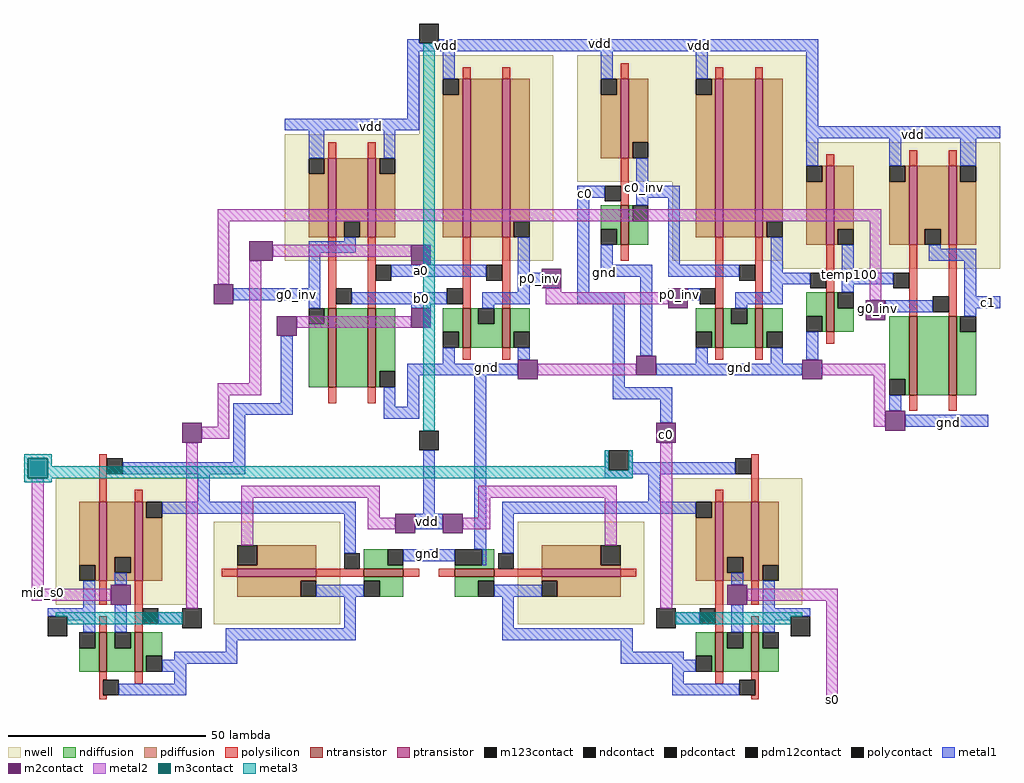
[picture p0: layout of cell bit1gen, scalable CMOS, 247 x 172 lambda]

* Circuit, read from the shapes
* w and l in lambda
.subckt bit1gen a0 b0 c0 c0_inv c1 g0_inv gnd mid_s0 p0_inv s0 temp100 vdd
M1 mid_s0 n1 a0 VSUBS nfet w=10 l=2
M2 n1 a0 mid_s0 VSUBS nfet w=10 l=2
M3 n2 b0 g0_inv VSUBS nfet w=20 l=2
M4 gnd b0 n1 VSUBS nfet w=10 l=2
M5 gnd a0 n2 VSUBS nfet w=20 l=2
M6 gnd mid_s0 n3 VSUBS nfet w=10 l=2
M7 p0_inv b0 gnd VSUBS nfet w=10 l=2
M8 gnd a0 p0_inv VSUBS nfet w=10 l=2
M9 c0_inv c0 gnd VSUBS nfet w=10 l=2
M10 s0 c0 n3 VSUBS nfet w=10 l=2
M11 n4 p0_inv gnd VSUBS nfet w=10 l=2
M12 c0 n3 s0 VSUBS nfet w=10 l=2
M13 gnd c0_inv n4 VSUBS nfet w=10 l=2
M14 temp100 n4 gnd VSUBS nfet w=10 l=2
M15 n5 temp100 gnd VSUBS nfet w=20 l=2
M16 c1 g0_inv n5 VSUBS nfet w=20 l=2
M17 mid_s0 b0 a0 n6 pfet w=20 l=2
M18 b0 a0 mid_s0 n6 pfet w=20 l=2
M19 vdd b0 n1 n7 pfet w=20 l=2
M20 g0_inv b0 vdd n8 pfet w=20 l=2
M21 vdd a0 g0_inv n8 pfet w=20 l=2
M22 n9 b0 vdd n8 pfet w=40 l=2
M23 p0_inv a0 n9 n8 pfet w=40 l=2
M24 vdd mid_s0 n3 n10 pfet w=20 l=2
M25 c0_inv c0 vdd n11 pfet w=20 l=2
M26 s0 c0 mid_s0 n12 pfet w=20 l=2
M27 n13 p0_inv vdd n11 pfet w=40 l=2
M28 c0 mid_s0 s0 n12 pfet w=20 l=2
M29 n4 c0_inv n13 n11 pfet w=40 l=2
M30 temp100 n4 vdd n11 pfet w=20 l=2
M31 c1 temp100 vdd n11 pfet w=20 l=2
M32 vdd g0_inv c1 n11 pfet w=20 l=2
.ends

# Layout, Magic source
magic
tech scmos
<< nwell >>
rect -3 -138 31 -118
rect -37 -170 31 -138
rect 37 -140 95 -118
rect 37 -150 144 -140
rect 61 -170 144 -150
rect 89 -172 144 -170
rect -95 -257 -62 -225
rect -55 -262 -23 -236
rect 22 -262 54 -236
rect 61 -257 94 -225
<< ntransistor >>
rect 48 -166 50 -156
rect -26 -202 -24 -182
rect -16 -202 -14 -182
rect 8 -192 10 -182
rect 18 -192 20 -182
rect 72 -192 74 -182
rect 82 -192 84 -182
rect 100 -188 102 -178
rect 121 -204 123 -184
rect 131 -204 133 -184
rect -17 -250 -7 -248
rect 6 -250 16 -248
rect -84 -274 -82 -264
rect -75 -274 -73 -264
rect 72 -274 74 -264
rect 81 -274 83 -264
<< ptransistor >>
rect -26 -164 -24 -144
rect -16 -164 -14 -144
rect 8 -164 10 -124
rect 18 -164 20 -124
rect 48 -144 50 -124
rect 72 -164 74 -124
rect 82 -164 84 -124
rect 100 -166 102 -146
rect 121 -166 123 -146
rect 131 -166 133 -146
rect -84 -251 -82 -231
rect -75 -251 -73 -231
rect -49 -250 -29 -248
rect 28 -250 48 -248
rect 72 -251 74 -231
rect 81 -251 83 -231
<< ndiffusion >>
rect 43 -162 48 -156
rect 47 -166 48 -162
rect 50 -160 51 -156
rect 50 -166 55 -160
rect -27 -186 -26 -182
rect -31 -202 -26 -186
rect -24 -202 -16 -182
rect -14 -198 -9 -182
rect 3 -188 8 -182
rect 7 -192 8 -188
rect 10 -186 12 -182
rect 16 -186 18 -182
rect 10 -192 18 -186
rect 20 -188 25 -182
rect 20 -192 21 -188
rect 67 -188 72 -182
rect 71 -192 72 -188
rect 74 -186 76 -182
rect 80 -186 82 -182
rect 74 -192 82 -186
rect 84 -188 89 -182
rect 95 -184 100 -178
rect 99 -188 100 -184
rect 102 -182 103 -178
rect 102 -188 107 -182
rect 84 -192 85 -188
rect -14 -202 -13 -198
rect 116 -200 121 -184
rect 120 -204 121 -200
rect 123 -204 131 -184
rect 133 -188 134 -184
rect 133 -204 138 -188
rect -17 -247 -11 -243
rect -17 -248 -7 -247
rect 13 -247 16 -243
rect 6 -248 16 -247
rect -17 -251 -7 -250
rect -13 -255 -7 -251
rect 6 -251 16 -250
rect 6 -255 12 -251
rect -85 -268 -84 -264
rect -89 -274 -84 -268
rect -82 -268 -80 -264
rect -76 -268 -75 -264
rect -82 -274 -75 -268
rect -73 -270 -68 -264
rect -73 -274 -72 -270
rect 67 -270 72 -264
rect 71 -274 72 -270
rect 74 -268 75 -264
rect 79 -268 81 -264
rect 74 -274 81 -268
rect 83 -268 84 -264
rect 83 -274 88 -268
<< pdiffusion >>
rect 7 -128 8 -124
rect -27 -148 -26 -144
rect -31 -164 -26 -148
rect -24 -160 -16 -144
rect -24 -164 -22 -160
rect -18 -164 -16 -160
rect -14 -148 -13 -144
rect -14 -164 -9 -148
rect 3 -164 8 -128
rect 10 -164 18 -124
rect 20 -160 25 -124
rect 47 -128 48 -124
rect 43 -144 48 -128
rect 50 -140 55 -124
rect 50 -144 51 -140
rect 71 -128 72 -124
rect 20 -164 21 -160
rect 67 -164 72 -128
rect 74 -164 82 -124
rect 84 -160 89 -124
rect 84 -164 85 -160
rect 99 -150 100 -146
rect 95 -166 100 -150
rect 102 -162 107 -146
rect 102 -166 103 -162
rect 120 -150 121 -146
rect 116 -166 121 -150
rect 123 -162 131 -146
rect 123 -166 125 -162
rect 129 -166 131 -162
rect 133 -150 134 -146
rect 133 -166 138 -150
rect -89 -247 -84 -231
rect -85 -251 -84 -247
rect -82 -245 -75 -231
rect -82 -249 -80 -245
rect -76 -249 -75 -245
rect -82 -251 -75 -249
rect -73 -235 -72 -231
rect -73 -251 -68 -235
rect 71 -235 72 -231
rect -44 -247 -29 -242
rect -49 -248 -29 -247
rect 28 -247 43 -242
rect 28 -248 48 -247
rect -49 -251 -29 -250
rect -49 -255 -33 -251
rect 28 -251 48 -250
rect 67 -251 72 -235
rect 74 -245 81 -231
rect 74 -249 75 -245
rect 79 -249 81 -245
rect 74 -251 81 -249
rect 83 -247 88 -231
rect 83 -251 84 -247
rect 32 -255 48 -251
<< ndcontact >>
rect 43 -166 47 -162
rect 51 -160 55 -156
rect -31 -186 -27 -182
rect 3 -192 7 -188
rect 12 -186 16 -182
rect 21 -192 25 -188
rect 67 -192 71 -188
rect 76 -186 80 -182
rect 95 -188 99 -184
rect 103 -182 107 -178
rect 85 -192 89 -188
rect -13 -202 -9 -198
rect 116 -204 120 -200
rect 134 -188 138 -184
rect -11 -247 -7 -243
rect 6 -247 13 -243
rect -17 -255 -13 -251
rect 12 -255 16 -251
rect -89 -268 -85 -264
rect -80 -268 -76 -264
rect -72 -274 -68 -270
rect 67 -274 71 -270
rect 75 -268 79 -264
rect 84 -268 88 -264
<< pdcontact >>
rect 3 -128 7 -124
rect -31 -148 -27 -144
rect -22 -164 -18 -160
rect -13 -148 -9 -144
rect 43 -128 47 -124
rect 51 -144 55 -140
rect 67 -128 71 -124
rect 21 -164 25 -160
rect 85 -164 89 -160
rect 95 -150 99 -146
rect 103 -166 107 -162
rect 116 -150 120 -146
rect 125 -166 129 -162
rect 134 -150 138 -146
rect -89 -251 -85 -247
rect -80 -249 -76 -245
rect -72 -235 -68 -231
rect 67 -235 71 -231
rect -33 -255 -29 -251
rect 75 -249 79 -245
rect 84 -251 88 -247
rect 28 -255 32 -251
<< polysilicon >>
rect 8 -124 10 -121
rect 18 -124 20 -121
rect 48 -124 50 -120
rect 72 -124 74 -121
rect 82 -124 84 -121
rect -26 -144 -24 -140
rect -16 -144 -14 -140
rect 48 -156 50 -144
rect -26 -182 -24 -164
rect -16 -182 -14 -164
rect 8 -182 10 -164
rect 18 -182 20 -164
rect 100 -146 102 -143
rect 121 -146 123 -142
rect 131 -146 133 -142
rect 48 -170 50 -166
rect 72 -182 74 -164
rect 82 -182 84 -164
rect 100 -178 102 -166
rect 121 -184 123 -166
rect 131 -184 133 -166
rect 100 -191 102 -188
rect 8 -195 10 -192
rect 18 -195 20 -192
rect 72 -195 74 -192
rect 82 -195 84 -192
rect -26 -206 -24 -202
rect -16 -206 -14 -202
rect 121 -208 123 -204
rect 131 -208 133 -204
rect -84 -231 -82 -219
rect -75 -231 -73 -228
rect 72 -231 74 -228
rect 81 -231 83 -219
rect -53 -250 -49 -248
rect -29 -250 -17 -248
rect -7 -250 -3 -248
rect 2 -250 6 -248
rect 16 -250 28 -248
rect 48 -250 52 -248
rect -84 -257 -82 -251
rect -84 -264 -82 -260
rect -75 -264 -73 -251
rect 72 -264 74 -251
rect 81 -257 83 -251
rect 81 -264 83 -260
rect -84 -276 -82 -274
rect -84 -280 -83 -276
rect -75 -277 -73 -274
rect 72 -277 74 -274
rect 81 -276 83 -274
rect 82 -280 83 -276
rect -84 -281 -82 -280
rect 81 -281 83 -280
<< polycontact >>
rect 44 -155 48 -151
rect -24 -181 -20 -177
rect -14 -175 -10 -171
rect 4 -181 8 -177
rect 14 -175 18 -171
rect 68 -181 72 -177
rect 78 -175 82 -171
rect 96 -177 100 -173
rect 117 -177 121 -173
rect 127 -183 131 -179
rect -82 -224 -78 -220
rect 77 -224 81 -220
rect -22 -248 -18 -244
rect 17 -248 21 -244
rect -73 -262 -69 -258
rect 68 -262 72 -258
rect -83 -280 -79 -276
rect 78 -280 82 -276
<< metal1 >>
rect -6 -115 -3 -114
rect 2 -115 98 -114
rect -6 -117 98 -115
rect -6 -134 -3 -117
rect 3 -124 6 -117
rect 43 -124 46 -117
rect 67 -124 70 -117
rect -37 -137 -3 -134
rect 95 -136 98 -117
rect -31 -144 -27 -137
rect -12 -144 -9 -137
rect 95 -139 144 -136
rect 52 -151 55 -144
rect 95 -146 98 -139
rect 116 -146 119 -139
rect 134 -146 138 -139
rect 37 -154 44 -151
rect -22 -165 -19 -164
rect -31 -168 -19 -165
rect -31 -177 -28 -168
rect -10 -174 14 -171
rect 22 -173 25 -164
rect 22 -176 28 -173
rect -50 -180 -28 -177
rect -31 -182 -28 -180
rect -20 -181 4 -178
rect 22 -178 25 -176
rect 13 -181 25 -178
rect 37 -178 40 -154
rect 52 -154 63 -151
rect 52 -156 55 -154
rect 43 -171 46 -166
rect 60 -171 63 -154
rect 43 -174 56 -171
rect 60 -174 78 -171
rect 37 -181 49 -178
rect -5 -182 0 -181
rect 13 -182 16 -181
rect -38 -206 -35 -189
rect 3 -196 6 -192
rect 22 -195 25 -192
rect -50 -209 -35 -206
rect -12 -207 -9 -202
rect -6 -199 22 -196
rect -6 -207 -3 -199
rect -50 -221 -47 -209
rect -12 -210 -3 -207
rect -78 -224 -47 -221
rect -59 -231 -56 -224
rect -68 -234 -19 -231
rect -2 -234 1 -218
rect -88 -258 -85 -251
rect -22 -244 -19 -234
rect -4 -238 3 -234
rect 11 -243 14 -199
rect 46 -202 49 -181
rect 53 -194 56 -174
rect 86 -173 89 -164
rect 104 -173 107 -166
rect 126 -167 129 -166
rect 126 -170 138 -167
rect 86 -176 96 -173
rect 65 -180 68 -177
rect 86 -178 89 -176
rect 104 -176 117 -173
rect 104 -178 107 -176
rect 77 -181 89 -178
rect 77 -182 80 -181
rect 135 -179 138 -170
rect 115 -183 127 -180
rect 135 -182 144 -179
rect 135 -184 138 -182
rect 67 -196 70 -192
rect 86 -196 89 -192
rect 95 -195 98 -188
rect 57 -199 94 -196
rect 46 -205 61 -202
rect 58 -211 61 -205
rect 116 -208 119 -204
rect 120 -212 141 -209
rect 44 -223 45 -218
rect 50 -221 51 -218
rect 50 -223 77 -221
rect 44 -224 77 -223
rect 44 -225 51 -224
rect 55 -231 58 -224
rect -7 -246 6 -243
rect 13 -247 14 -243
rect 18 -234 67 -231
rect 18 -244 21 -234
rect -80 -252 -77 -249
rect -29 -255 -17 -252
rect 16 -255 28 -252
rect 76 -252 79 -249
rect -97 -260 -85 -258
rect -92 -261 -85 -260
rect -88 -264 -85 -261
rect -80 -264 -77 -257
rect -69 -262 -63 -259
rect -22 -263 -19 -255
rect -52 -266 -19 -263
rect 18 -263 21 -255
rect 62 -262 68 -259
rect 18 -266 51 -263
rect 76 -264 79 -257
rect -52 -269 -49 -266
rect -65 -271 -49 -269
rect -68 -272 -49 -271
rect 48 -269 51 -266
rect 84 -258 87 -251
rect 84 -260 96 -258
rect 84 -261 91 -260
rect 84 -264 87 -261
rect 48 -271 64 -269
rect 48 -272 67 -271
rect -68 -274 -62 -272
rect -65 -277 -62 -274
rect -79 -280 -62 -277
rect 61 -274 67 -272
rect 61 -277 64 -274
rect 61 -280 78 -277
<< m2contact >>
rect -46 -170 -40 -165
rect -55 -181 -50 -176
rect -5 -171 0 -166
rect 28 -177 33 -172
rect -39 -189 -34 -184
rect -5 -187 0 -182
rect -63 -216 -58 -211
rect -9 -239 -4 -234
rect 3 -239 8 -234
rect 22 -200 27 -195
rect 60 -182 65 -177
rect 110 -185 115 -180
rect 52 -199 57 -194
rect 94 -200 99 -195
rect 57 -216 62 -211
rect 115 -213 120 -208
rect -81 -257 -76 -252
rect 75 -257 80 -252
<< pdm12contact >>
rect -49 -247 -44 -242
rect 43 -247 48 -242
<< metal2 >>
rect -54 -160 114 -157
rect -54 -176 -51 -160
rect -40 -169 -5 -166
rect -46 -201 -43 -170
rect 29 -178 33 -177
rect 29 -181 60 -178
rect 111 -180 114 -160
rect -34 -187 -5 -184
rect 27 -199 52 -196
rect 99 -199 115 -196
rect -54 -204 -43 -201
rect -54 -212 -51 -204
rect -58 -215 -51 -212
rect -101 -253 -98 -225
rect -101 -256 -81 -253
rect -62 -258 -59 -216
rect 112 -212 115 -199
rect -48 -230 -13 -227
rect -48 -242 -45 -230
rect -16 -235 -13 -230
rect 12 -230 47 -227
rect -16 -238 -9 -235
rect 12 -235 15 -230
rect 8 -238 15 -235
rect 44 -242 47 -230
rect 58 -258 61 -216
rect 80 -256 103 -253
rect 100 -282 103 -256
<< m3contact >>
rect -102 -225 -97 -220
<< m123contact >>
rect -3 -115 2 -110
rect -3 -218 2 -213
rect 45 -223 50 -218
rect -97 -265 -92 -260
rect -63 -263 -58 -258
rect 57 -263 62 -258
rect 91 -265 96 -260
<< metal3 >>
rect -2 -213 1 -115
rect -103 -220 -96 -219
rect -103 -225 -102 -220
rect -97 -222 -96 -220
rect 44 -222 45 -218
rect -97 -223 45 -222
rect 50 -223 51 -218
rect -97 -225 51 -223
rect -103 -226 -96 -225
rect -95 -260 -63 -259
rect -92 -262 -63 -260
rect 62 -260 94 -259
rect 62 -262 91 -260
<< labels >>
rlabel metal1 -1 -236 -1 -236 3 vdd
rlabel metal1 -1 -244 -1 -244 3 gnd
rlabel metal1 -15 -136 -15 -136 5 vdd
rlabel metal1 14 -197 14 -197 1 gnd
rlabel metal1 4 -116 4 -115 5 vdd
rlabel metal1 138 -182 144 -179 7 c1
rlabel metal1 131 -211 131 -211 1 gnd
rlabel metal1 122 -138 122 -138 5 vdd
rlabel m2contact 61 -179 65 -178 1 p0_inv
rlabel metal1 105 -175 107 -172 1 temp100
rlabel metal1 68 -116 68 -115 5 vdd
rlabel metal1 78 -197 78 -197 1 gnd
rlabel metal1 53 -153 55 -150 1 c0_inv
rlabel metal1 38 -154 40 -152 3 c0
rlabel metal1 44 -173 44 -173 1 gnd
rlabel metal1 43 -115 43 -115 5 vdd
rlabel m2contact 59 -214 60 -214 1 c0
rlabel metal2 101 -282 102 -280 1 s0
rlabel metal2 -100 -255 -96 -253 3 mid_s0
rlabel metal1 -8 -174 3 -171 1 a0
rlabel metal1 -8 -181 3 -178 1 b0
rlabel metal1 -37 -180 -31 -177 1 g0_inv
rlabel metal1 25 -176 30 -173 1 p0_inv
rlabel m2contact 111 -183 115 -181 1 g0_inv
<< end >>
